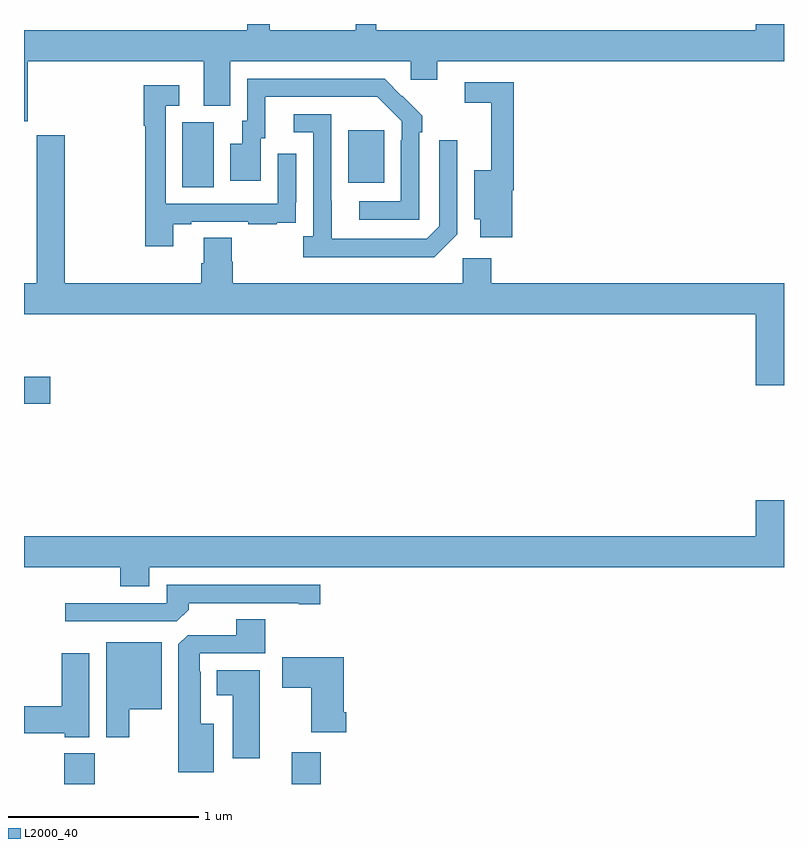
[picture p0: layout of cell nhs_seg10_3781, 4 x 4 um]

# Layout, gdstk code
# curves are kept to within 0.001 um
import gdstk
lib = gdstk.Library(unit=1e-6, precision=1e-09)
def R(c, l, rs):  # rectangles x0, y0, x1, y1
    for r in rs: c.add(gdstk.rectangle(r[:2], r[2:], *l))
def P(c, l, *ps):  # polygons
    for p in ps: c.add(gdstk.Polygon(p, *l))
L2000_40 = (2000, 40)

nhs_seg10_3781 = lib.new_cell('nhs_seg10_3781')
R(nhs_seg10_3781, L2000_40, [(317.213,1308.5,317.373,1308.661), (318.41,1308.5,318.563,1308.667), (317,1310.501,317.137,1310.643), (317.834,1311.64,317.998,1311.984), (318.707,1311.665,318.895,1311.94)])
P(nhs_seg10_3781, L2000_40, [(317.02,1312.304),(317.945,1312.304),(317.945,1312.069),(318.085,1312.069),(318.085,1312.304),(319.035,1312.304),(319.035,1312.206),(319.174,1312.206),(319.174,1312.304),(321,1312.304),(321,1312.5),(320.852,1312.5),(320.852,1312.468),(318.854,1312.468),(318.854,1312.5),(318.746,1312.5),(318.746,1312.468),(318.293,1312.468),(318.293,1312.5),(318.175,1312.5),(318.175,1312.468),(317,1312.468),(317,1311.987),(317.02,1311.987)],
  [(319.08,1311.929),(319.095,1311.929),(319.095,1312.017),(318.898,1312.212),(318.174,1312.212),(318.174,1311.99),(318.149,1311.99),(318.149,1311.871),(318.086,1311.871),(318.086,1311.675),(318.247,1311.675),(318.247,1311.9),(318.271,1311.9),(318.271,1312.116),(318.859,1312.116),(318.987,1311.987),(318.987,1311.887),(318.984,1311.887),(318.984,1311.567),(318.765,1311.567),(318.765,1311.471),(319.08,1311.471)],
  [(319.571,1311.626),(319.577,1311.626),(319.577,1312.194),(319.32,1312.194),(319.32,1312.086),(319.46,1312.086),(319.46,1311.73),(319.37,1311.73),(319.37,1311.473),(319.4,1311.473),(319.4,1311.378),(319.571,1311.378)],
  [(317.785,1311.447),(317.881,1311.447),(317.881,1311.459),(318.181,1311.459),(318.181,1311.447),(318.329,1311.447),(318.329,1311.453),(318.431,1311.453),(318.431,1311.562),(318.432,1311.562),(318.432,1311.817),(318.336,1311.817),(318.336,1311.555),(317.745,1311.555),(317.745,1312.071),(317.818,1312.071),(317.818,1312.177),(317.629,1312.177),(317.629,1311.964),(317.637,1311.964),(317.637,1311.33),(317.785,1311.33)],
  [(319.281,1311.393),(319.281,1311.889),(319.185,1311.889),(319.185,1311.435),(319.119,1311.369),(318.619,1311.369),(318.618,1312.026),(318.42,1312.026),(318.42,1311.93),(318.522,1311.93),(318.522,1311.382),(318.471,1311.382),(318.471,1311.272),(319.16,1311.272)],
  [(321,1311.136),(319.46,1311.136),(319.46,1311.268),(319.308,1311.268),(319.308,1311.136),(318.098,1311.136),(318.098,1311.249),(318.093,1311.249),(318.093,1311.374),(317.945,1311.374),(317.945,1311.242),(317.933,1311.242),(317.933,1311.136),(317.214,1311.136),(317.214,1311.915),(317.066,1311.915),(317.066,1311.136),(317,1311.136),(317,1310.972),(320.852,1310.972),(320.852,1310.598),(321,1310.598)],
  [(317.659,1309.64),(321,1309.64),(321,1309.993),(320.852,1309.993),(320.852,1309.804),(317,1309.804),(317,1309.64),(317.507,1309.64),(317.507,1309.541),(317.659,1309.541)],
  [(317.867,1309.418),(317.867,1309.452),(318.446,1309.452),(318.446,1309.447),(318.559,1309.447),(318.559,1309.548),(317.751,1309.548),(317.751,1309.452),(317.217,1309.452),(317.217,1309.356),(317.805,1309.356)],
  [(317.998,1308.817),(317.929,1308.817),(317.929,1309.091),(317.925,1309.091),(317.925,1309.188),(318.269,1309.188),(318.269,1309.367),(318.116,1309.367),(318.116,1309.284),(317.862,1309.284),(317.813,1309.235),(317.813,1308.563),(317.998,1308.563)],
  [(317.554,1308.893),(317.725,1308.893),(317.725,1309.246),(317.432,1309.246),(317.432,1308.747),(317.554,1308.747)],
  [(317.344,1309.189),(317.198,1309.189),(317.198,1308.908),(317,1308.908),(317,1308.766),(317.214,1308.766),(317.214,1308.746),(317.344,1308.746)],
  [(318.695,1308.877),(318.682,1308.877),(318.682,1309.168),(318.36,1309.168),(318.36,1309.006),(318.512,1309.006),(318.512,1308.773),(318.695,1308.773)],
  [(318.241,1309.099),(318.014,1309.099),(318.014,1308.968),(318.098,1308.968),(318.098,1308.636),(318.241,1308.636)])

lib.write_gds('nhs_seg10_3781.gds')
